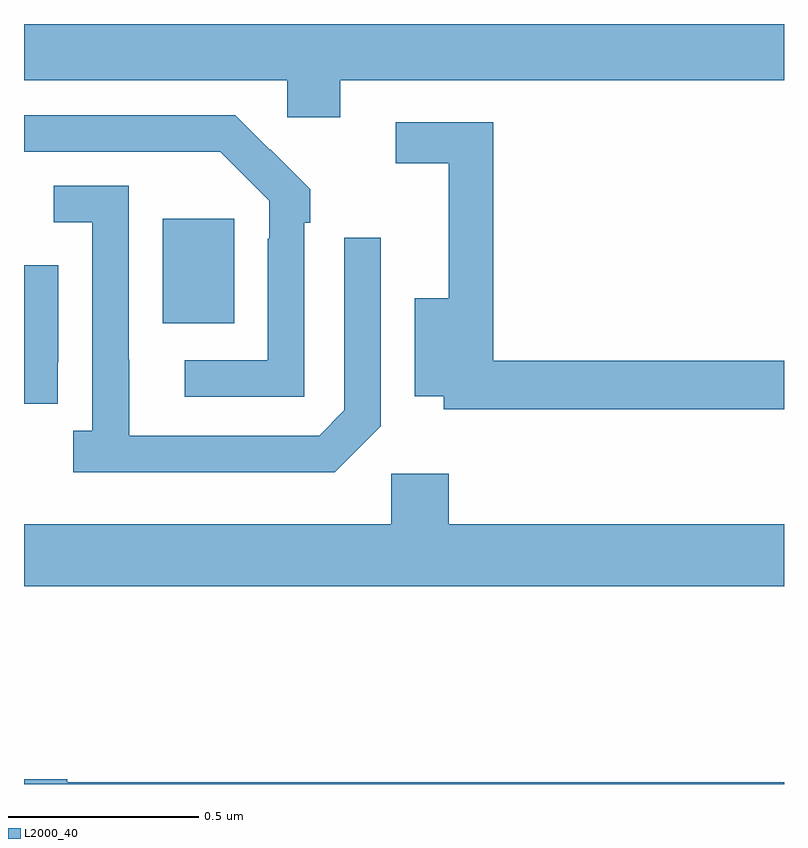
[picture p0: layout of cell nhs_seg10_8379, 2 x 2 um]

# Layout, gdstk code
import gdstk
lib = gdstk.Library(unit=1e-6, precision=1e-09)
def R(c, l, rs):  # rectangles x0, y0, x1, y1
    for r in rs: c.add(gdstk.rectangle(r[:2], r[2:], *l))
def P(c, l, *ps):  # polygons
    for p in ps: c.add(gdstk.Polygon(p, *l))
L2000_40 = (2000, 40)

nhs_seg10_8379 = lib.new_cell('nhs_seg10_8379')
R(nhs_seg10_8379, L2000_40, [(216.365,1263.713,216.553,1263.988)])
P(nhs_seg10_8379, L2000_40, [(216.832,1264.352),(218,1264.352),(218,1264.5),(216,1264.5),(216,1264.352),(216.693,1264.352),(216.693,1264.254),(216.832,1264.254)],
  [(216.738,1263.977),(216.753,1263.977),(216.753,1264.065),(216.648,1264.17),(216.647,1264.169),(216.556,1264.26),(216,1264.26),(216,1264.164),(216.517,1264.164),(216.645,1264.035),(216.645,1263.935),(216.642,1263.935),(216.642,1263.615),(216.423,1263.615),(216.423,1263.519),(216.738,1263.519)],
  [(218,1263.614),(217.235,1263.614),(217.235,1264.242),(216.978,1264.242),(216.978,1264.134),(217.118,1264.134),(217.118,1263.778),(217.028,1263.778),(217.028,1263.521),(217.104,1263.521),(217.104,1263.486),(218,1263.486)],
  [(216.939,1263.441),(216.939,1263.937),(216.843,1263.937),(216.843,1263.483),(216.777,1263.417),(216.277,1263.417),(216.277,1263.617),(216.276,1263.617),(216.276,1264.074),(216.078,1264.074),(216.078,1263.978),(216.18,1263.978),(216.18,1263.43),(216.129,1263.43),(216.129,1263.32),(216.818,1263.32)],
  [(216.089,1263.61),(216.09,1263.61),(216.09,1263.865),(216,1263.865),(216,1263.501),(216.089,1263.501)],
  [(218,1263.184),(217.118,1263.184),(217.118,1263.316),(216.966,1263.316),(216.966,1263.184),(216,1263.184),(216,1263.02),(218,1263.02)],
  [(218,1262.504),(216.114,1262.504),(216.114,1262.512),(216,1262.512),(216,1262.5),(218,1262.5)])

lib.write_gds('nhs_seg10_8379.gds')
